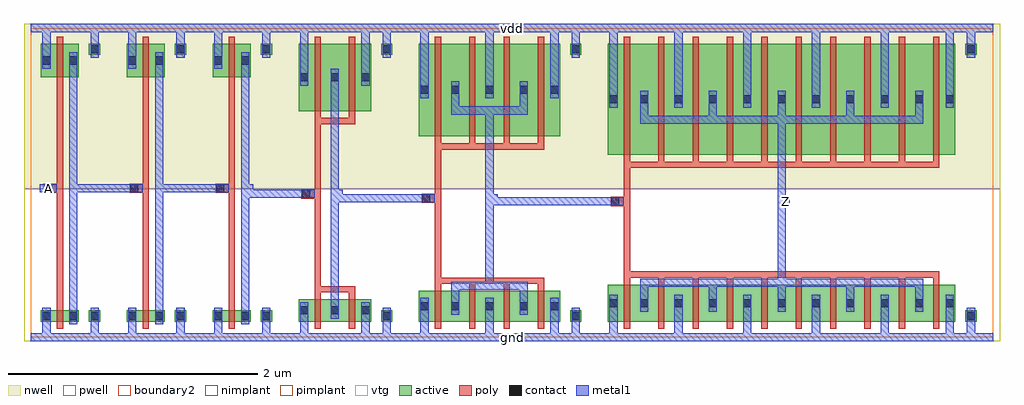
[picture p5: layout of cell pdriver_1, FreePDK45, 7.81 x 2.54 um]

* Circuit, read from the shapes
.subckt pdriver_1 A Z gnd vdd
M1 pinv_1_1/A A gnd gnd nfet w=0.09u l=0.05u
M2 pinv_1_2/A pinv_1_1/A gnd gnd nfet w=0.09u l=0.05u
M3 pinv_8_3/A pinv_1_2/A gnd gnd nfet w=0.09u l=0.05u
M4 pinv_9_4/A pinv_8_3/A gnd gnd nfet w=0.18u l=0.05u m=2
M5 pinv_10_5/A pinv_9_4/A gnd gnd nfet w=0.2475u l=0.05u m=4
M6 Z pinv_10_5/A gnd gnd nfet w=0.2975u l=0.05u m=10
M7 pinv_1_1/A A vdd vdd pfet w=0.27u l=0.05u
M8 pinv_1_2/A pinv_1_1/A vdd vdd pfet w=0.27u l=0.05u
M9 pinv_8_3/A pinv_1_2/A vdd vdd pfet w=0.27u l=0.05u
M10 pinv_9_4/A pinv_8_3/A vdd vdd pfet w=0.54u l=0.05u m=2
M11 pinv_10_5/A pinv_9_4/A vdd vdd pfet w=0.7425u l=0.05u m=4
M12 Z pinv_10_5/A vdd vdd pfet w=0.89u l=0.05u m=10
.ends

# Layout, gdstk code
import gdstk
lib = gdstk.Library(unit=1e-6, precision=5e-10)
def R(c, l, rs):  # rectangles x0, y0, x1, y1
    for r in rs: c.add(gdstk.rectangle(r[:2], r[2:], *l))
def A(c, l, x, y, w, h, nx, ny, dx, dy):  # array of equal rectangles
    R(c, l, [(x+i*dx, y+j*dy, x+i*dx+w, y+j*dy+h) for i in range(nx) for j in range(ny)])
active = (1, 0)
pwell = (2, 0)
nwell = (3, 0)
nimplant = (4, 0)
pimplant = (5, 0)
vtg = (6, 0)
poly = (9, 0)
contact = (10, 0)
metal1 = (11, 0)
boundary2 = (239, 0)

contact_10 = lib.new_cell('contact_10')
R(contact_10, active, [(0,0.0225,0.09,0.1125)])
R(contact_10, nwell, [(-0.055,-0.0325,0.145,0.1675)])
R(contact_10, pimplant, [(0,0.0225,0.09,0.1125)])
R(contact_10, contact, [(0.0125,0.035,0.0775,0.1)])
R(contact_10, metal1, [(0.0125,0,0.0775,0.135)])
R(contact_10, boundary2, [(-0.055,-0.0325,0.145,0.1675)])

pmos_m1_w0_270_sm1_dm1_d = lib.new_cell('pmos_m1_w0_270_sm1_dm1_da_p')
R(pmos_m1_w0_270_sm1_dm1_d, active, [(0,0,0.305,0.27)])
R(pmos_m1_w0_270_sm1_dm1_d, nwell, [(-0.08,-0.08,0.385,0.35)])
R(pmos_m1_w0_270_sm1_dm1_d, pimplant, [(0,0,0.305,0.27)])
R(pmos_m1_w0_270_sm1_dm1_d, vtg, [(-0.08,-0.08,0.385,0.35)])
R(pmos_m1_w0_270_sm1_dm1_d, poly, [(0.1275,-0.055,0.1775,0.325), (0.1275,-0.055,0.1775,0.325)])
R(pmos_m1_w0_270_sm1_dm1_d, metal1, [(0.0125,0.0675,0.0775,0.2025), (0.2275,0.0675,0.2925,0.2025)])
R(pmos_m1_w0_270_sm1_dm1_d, boundary2, [(-0.08,-0.08,0.385,0.35)])
pmos_m1_w0_270_sm1_dm1_d.add(gdstk.Reference(contact_10, (0,0.0675)))
pmos_m1_w0_270_sm1_dm1_d.add(gdstk.Reference(contact_10, (0.215,0.0675)))
pmos_m1_w0_270_sm1_dm1_d.add(gdstk.Label('S', (0.045,0.135), layer=11, texttype=0))
pmos_m1_w0_270_sm1_dm1_d.add(gdstk.Label('D', (0.26,0.135), layer=11, texttype=0))
pmos_m1_w0_270_sm1_dm1_d.add(gdstk.Label('G', (0.1525,0.135), layer=9, texttype=0))

contact_9 = lib.new_cell('contact_9')
R(contact_9, active, [(0,0.0225,0.09,0.1125)])
R(contact_9, pwell, [(-0.055,-0.0325,0.145,0.1675)])
R(contact_9, nimplant, [(0,0.0225,0.09,0.1125)])
R(contact_9, contact, [(0.0125,0.035,0.0775,0.1)])
R(contact_9, metal1, [(0.0125,0,0.0775,0.135)])
R(contact_9, boundary2, [(-0.055,-0.0325,0.145,0.1675)])

nmos_m1_w0_090_sm1_dm1_d = lib.new_cell('nmos_m1_w0_090_sm1_dm1_da_p')
R(nmos_m1_w0_090_sm1_dm1_d, active, [(0,0,0.305,0.09)])
R(nmos_m1_w0_090_sm1_dm1_d, pwell, [(-0.08,-0.08,0.385,0.17)])
R(nmos_m1_w0_090_sm1_dm1_d, nimplant, [(0,0,0.305,0.09)])
R(nmos_m1_w0_090_sm1_dm1_d, vtg, [(-0.08,-0.08,0.385,0.17)])
R(nmos_m1_w0_090_sm1_dm1_d, poly, [(0.1275,-0.055,0.1775,0.145), (0.1275,-0.055,0.1775,0.145)])
R(nmos_m1_w0_090_sm1_dm1_d, metal1, [(0.0125,-0.0225,0.0775,0.1125), (0.2275,-0.0225,0.2925,0.1125)])
R(nmos_m1_w0_090_sm1_dm1_d, boundary2, [(-0.08,-0.08,0.385,0.17)])
nmos_m1_w0_090_sm1_dm1_d.add(gdstk.Reference(contact_9, (0,-0.0225)))
nmos_m1_w0_090_sm1_dm1_d.add(gdstk.Reference(contact_9, (0.215,-0.0225)))
nmos_m1_w0_090_sm1_dm1_d.add(gdstk.Label('S', (0.045,0.045), layer=11, texttype=0))
nmos_m1_w0_090_sm1_dm1_d.add(gdstk.Label('D', (0.26,0.045), layer=11, texttype=0))
nmos_m1_w0_090_sm1_dm1_d.add(gdstk.Label('G', (0.1525,0.045), layer=9, texttype=0))

contact_11 = lib.new_cell('contact_11')
R(contact_11, active, [(0,0.0225,0.09,0.1125)])
R(contact_11, nwell, [(-0.055,-0.0325,0.145,0.1675)])
R(contact_11, nimplant, [(0,0.0225,0.09,0.1125)])
R(contact_11, contact, [(0.0125,0.035,0.0775,0.1)])
R(contact_11, metal1, [(0.0125,0,0.0775,0.135)])
R(contact_11, boundary2, [(-0.055,-0.0325,0.145,0.1675)])

contact_12 = lib.new_cell('contact_12')
R(contact_12, active, [(0,0.0225,0.09,0.1125)])
R(contact_12, pwell, [(-0.055,-0.0325,0.145,0.1675)])
R(contact_12, pimplant, [(0,0.0225,0.09,0.1125)])
R(contact_12, contact, [(0.0125,0.035,0.0775,0.1)])
R(contact_12, metal1, [(0.0125,0,0.0775,0.135)])
R(contact_12, boundary2, [(-0.055,-0.0325,0.145,0.1675)])

contact_13 = lib.new_cell('contact_13')
R(contact_13, poly, [(0.03,0,0.105,0.075)])
R(contact_13, contact, [(0.035,0.005,0.1,0.07)])
R(contact_13, metal1, [(0,0.005,0.135,0.07)])
R(contact_13, boundary2, [(0,0,0.135,0.075)])

pinv_1 = lib.new_cell('pinv_1')
R(pinv_1, pwell, [(-0.055,-0.0325,0.7425,1.1875)])
R(pinv_1, nwell, [(-0.055,1.1875,0.7425,2.51)])
R(pinv_1, vtg, [(-0.055,-0.0325,0.7425,1.1875), (-0.055,1.1875,0.7425,2.51)])
R(pinv_1, poly, [(0.2075,0.27,0.2575,2.025), (0.14,1.155,0.2075,1.23)])
R(pinv_1, metal1, [(0,-0.0325,0.6875,0.0325), (0.0925,-0.0325,0.1575,0.1025), (0.4775,0,0.5425,0.17), (0.3075,0.1025,0.3725,2.2825), (0.0725,1.16,0.2075,1.225), (0.34,1.16,0.405,1.225), (0.0925,2.1475,0.1575,2.5075), (0.4775,2.305,0.5425,2.475), (0,2.4425,0.6875,2.5075)])
R(pinv_1, boundary2, [(0,0,0.6875,2.475), (0,0,0.6875,2.475)])
pinv_1.add(gdstk.Reference(pmos_m1_w0_270_sm1_dm1_d, (0.08,2.08)))
pinv_1.add(gdstk.Reference(nmos_m1_w0_090_sm1_dm1_d, (0.08,0.125)))
pinv_1.add(gdstk.Reference(contact_11, (0.465,2.2375)))
pinv_1.add(gdstk.Reference(contact_12, (0.465,0.1025)))
pinv_1.add(gdstk.Reference(contact_13, (0.0725,1.155)))
pinv_1.add(gdstk.Label('A', (0.14,1.1925), layer=11, texttype=0))
pinv_1.add(gdstk.Label('Z', (0.3725,1.1925), layer=11, texttype=0))
pinv_1.add(gdstk.Label('gnd', (0.344,0), layer=11, texttype=0))
pinv_1.add(gdstk.Label('vdd', (0.344,2.475), layer=11, texttype=0))

pmos_m2_w0_540_sm1_dm1_d = lib.new_cell('pmos_m2_w0_540_sm1_dm1_da_p')
R(pmos_m2_w0_540_sm1_dm1_d, active, [(0,0,0.58,0.54)])
R(pmos_m2_w0_540_sm1_dm1_d, nwell, [(-0.08,-0.08,0.66,0.62)])
R(pmos_m2_w0_540_sm1_dm1_d, pimplant, [(0,0,0.58,0.54)])
R(pmos_m2_w0_540_sm1_dm1_d, vtg, [(-0.08,-0.08,0.66,0.62)])
R(pmos_m2_w0_540_sm1_dm1_d, poly, [(0.1275,-0.105,0.4525,-0.055), (0.1275,-0.055,0.1775,0.595), (0.4025,-0.055,0.4525,0.595)])
A(pmos_m2_w0_540_sm1_dm1_d, metal1, 0.0125, 0.2025, 0.065, 0.135, 3, 1, 0.245, 0)
R(pmos_m2_w0_540_sm1_dm1_d, boundary2, [(-0.08,-0.105,0.66,0.62)])
pmos_m2_w0_540_sm1_dm1_d.add(gdstk.Reference(contact_10, (0,0.2025)))
pmos_m2_w0_540_sm1_dm1_d.add(gdstk.Reference(contact_10, (0.245,0.2025)))
pmos_m2_w0_540_sm1_dm1_d.add(gdstk.Reference(contact_10, (0.49,0.2025)))
pmos_m2_w0_540_sm1_dm1_d.add(gdstk.Label('S', (0.535,0.27), layer=11, texttype=0))
pmos_m2_w0_540_sm1_dm1_d.add(gdstk.Label('S', (0.045,0.27), layer=11, texttype=0))
pmos_m2_w0_540_sm1_dm1_d.add(gdstk.Label('D', (0.29,0.27), layer=11, texttype=0))
pmos_m2_w0_540_sm1_dm1_d.add(gdstk.Label('G', (0.29,-0.08), layer=9, texttype=0))

nmos_m2_w0_180_sm1_dm1_d = lib.new_cell('nmos_m2_w0_180_sm1_dm1_da_p')
R(nmos_m2_w0_180_sm1_dm1_d, active, [(0,0,0.58,0.18)])
R(nmos_m2_w0_180_sm1_dm1_d, pwell, [(-0.08,-0.08,0.66,0.26)])
R(nmos_m2_w0_180_sm1_dm1_d, nimplant, [(0,0,0.58,0.18)])
R(nmos_m2_w0_180_sm1_dm1_d, vtg, [(-0.08,-0.08,0.66,0.26)])
R(nmos_m2_w0_180_sm1_dm1_d, poly, [(0.1275,-0.055,0.1775,0.235), (0.4025,-0.055,0.4525,0.235), (0.1275,0.235,0.4525,0.285)])
A(nmos_m2_w0_180_sm1_dm1_d, metal1, 0.0125, 0.0225, 0.065, 0.135, 3, 1, 0.245, 0)
R(nmos_m2_w0_180_sm1_dm1_d, boundary2, [(-0.08,-0.08,0.66,0.285)])
nmos_m2_w0_180_sm1_dm1_d.add(gdstk.Reference(contact_9, (0,0.0225)))
nmos_m2_w0_180_sm1_dm1_d.add(gdstk.Reference(contact_9, (0.245,0.0225)))
nmos_m2_w0_180_sm1_dm1_d.add(gdstk.Reference(contact_9, (0.49,0.0225)))
nmos_m2_w0_180_sm1_dm1_d.add(gdstk.Label('S', (0.535,0.09), layer=11, texttype=0))
nmos_m2_w0_180_sm1_dm1_d.add(gdstk.Label('S', (0.045,0.09), layer=11, texttype=0))
nmos_m2_w0_180_sm1_dm1_d.add(gdstk.Label('D', (0.29,0.09), layer=11, texttype=0))
nmos_m2_w0_180_sm1_dm1_d.add(gdstk.Label('G', (0.29,0.26), layer=9, texttype=0))

pinv_8 = lib.new_cell('pinv_8')
R(pinv_8, pwell, [(-0.055,-0.0325,1.0175,1.1875)])
R(pinv_8, nwell, [(-0.055,1.1875,1.0175,2.51)])
R(pinv_8, vtg, [(-0.055,-0.0325,1.0175,1.1875), (-0.055,1.1875,1.0175,2.51)])
R(pinv_8, poly, [(0.2075,0.41,0.2575,1.705), (0.14,1.11,0.2075,1.185)])
R(pinv_8, metal1, [(0,-0.0325,0.9625,0.0325), (0.0925,-0.0325,0.1575,0.1475), (0.5825,-0.0325,0.6475,0.1475), (0.7525,0,0.8175,0.17), (0.3375,0.1475,0.4025,2.1475), (0.0725,1.115,0.2075,1.18), (0.37,1.115,0.435,1.18), (0.0925,2.0125,0.1575,2.5075), (0.5825,2.0125,0.6475,2.5075), (0.7525,2.305,0.8175,2.475), (0,2.4425,0.9625,2.5075)])
R(pinv_8, boundary2, [(0,0,0.9625,2.475), (0,0,0.9625,2.475)])
pinv_8.add(gdstk.Reference(pmos_m2_w0_540_sm1_dm1_d, (0.08,1.81)))
pinv_8.add(gdstk.Reference(nmos_m2_w0_180_sm1_dm1_d, (0.08,0.125)))
pinv_8.add(gdstk.Reference(contact_11, (0.74,2.2375)))
pinv_8.add(gdstk.Reference(contact_12, (0.74,0.1025)))
pinv_8.add(gdstk.Reference(contact_13, (0.0725,1.11)))
pinv_8.add(gdstk.Label('A', (0.14,1.1475), layer=11, texttype=0))
pinv_8.add(gdstk.Label('Z', (0.4025,1.1475), layer=11, texttype=0))
pinv_8.add(gdstk.Label('gnd', (0.481,0), layer=11, texttype=0))
pinv_8.add(gdstk.Label('vdd', (0.481,2.475), layer=11, texttype=0))

pmos_m4_w0_743_sm1_dm1_d = lib.new_cell('pmos_m4_w0_743_sm1_dm1_da_p')
R(pmos_m4_w0_743_sm1_dm1_d, active, [(0,0,1.13,0.7425)])
R(pmos_m4_w0_743_sm1_dm1_d, nwell, [(-0.08,-0.08,1.21,0.8225)])
R(pmos_m4_w0_743_sm1_dm1_d, pimplant, [(0,0,1.13,0.7425)])
R(pmos_m4_w0_743_sm1_dm1_d, vtg, [(-0.08,-0.08,1.21,0.8225)])
A(pmos_m4_w0_743_sm1_dm1_d, poly, 0.1275, -0.055, 0.05, 0.8525, 4, 1, 0.275, 0)
R(pmos_m4_w0_743_sm1_dm1_d, poly, [(0.1275,-0.105,1.0025,-0.055)])
A(pmos_m4_w0_743_sm1_dm1_d, metal1, 0.0125, 0.305, 0.065, 0.135, 3, 1, 0.52, 0)
R(pmos_m4_w0_743_sm1_dm1_d, metal1, [(0.2575,0.175,0.8725,0.24), (0.2575,0.205,0.3225,0.37), (0.8075,0.205,0.8725,0.37)])
R(pmos_m4_w0_743_sm1_dm1_d, boundary2, [(-0.08,-0.105,1.21,0.8225)])
pmos_m4_w0_743_sm1_dm1_d.add(gdstk.Reference(contact_10, (0,0.305)))
pmos_m4_w0_743_sm1_dm1_d.add(gdstk.Reference(contact_10, (0.245,0.305)))
pmos_m4_w0_743_sm1_dm1_d.add(gdstk.Reference(contact_10, (0.52,0.305)))
pmos_m4_w0_743_sm1_dm1_d.add(gdstk.Reference(contact_10, (0.795,0.305)))
pmos_m4_w0_743_sm1_dm1_d.add(gdstk.Reference(contact_10, (1.04,0.305)))
pmos_m4_w0_743_sm1_dm1_d.add(gdstk.Label('S', (0.565,0.3725), layer=11, texttype=0))
pmos_m4_w0_743_sm1_dm1_d.add(gdstk.Label('S', (0.045,0.3725), layer=11, texttype=0))
pmos_m4_w0_743_sm1_dm1_d.add(gdstk.Label('S', (1.085,0.3725), layer=11, texttype=0))
pmos_m4_w0_743_sm1_dm1_d.add(gdstk.Label('D', (0.565,0.2075), layer=11, texttype=0))
pmos_m4_w0_743_sm1_dm1_d.add(gdstk.Label('G', (0.565,-0.08), layer=9, texttype=0))

nmos_m4_w0_247_sm1_dm1_d = lib.new_cell('nmos_m4_w0_247_sm1_dm1_da_p')
R(nmos_m4_w0_247_sm1_dm1_d, active, [(0,0,1.13,0.2475)])
R(nmos_m4_w0_247_sm1_dm1_d, pwell, [(-0.08,-0.08,1.21,0.3275)])
R(nmos_m4_w0_247_sm1_dm1_d, nimplant, [(0,0,1.13,0.2475)])
R(nmos_m4_w0_247_sm1_dm1_d, vtg, [(-0.08,-0.08,1.21,0.3275)])
A(nmos_m4_w0_247_sm1_dm1_d, poly, 0.1275, -0.055, 0.05, 0.3575, 4, 1, 0.275, 0)
R(nmos_m4_w0_247_sm1_dm1_d, poly, [(0.1275,0.3025,1.0025,0.3525)])
A(nmos_m4_w0_247_sm1_dm1_d, metal1, 0.0125, 0.055, 0.065, 0.135, 3, 1, 0.52, 0)
R(nmos_m4_w0_247_sm1_dm1_d, metal1, [(0.2575,0.125,0.3225,0.29), (0.8075,0.125,0.8725,0.29), (0.2575,0.255,0.8725,0.32)])
R(nmos_m4_w0_247_sm1_dm1_d, boundary2, [(-0.08,-0.08,1.21,0.3525)])
nmos_m4_w0_247_sm1_dm1_d.add(gdstk.Reference(contact_9, (0,0.055)))
nmos_m4_w0_247_sm1_dm1_d.add(gdstk.Reference(contact_9, (0.245,0.055)))
nmos_m4_w0_247_sm1_dm1_d.add(gdstk.Reference(contact_9, (0.52,0.055)))
nmos_m4_w0_247_sm1_dm1_d.add(gdstk.Reference(contact_9, (0.795,0.055)))
nmos_m4_w0_247_sm1_dm1_d.add(gdstk.Reference(contact_9, (1.04,0.055)))
nmos_m4_w0_247_sm1_dm1_d.add(gdstk.Label('S', (0.565,0.1225), layer=11, texttype=0))
nmos_m4_w0_247_sm1_dm1_d.add(gdstk.Label('S', (1.085,0.1225), layer=11, texttype=0))
nmos_m4_w0_247_sm1_dm1_d.add(gdstk.Label('S', (0.045,0.1225), layer=11, texttype=0))
nmos_m4_w0_247_sm1_dm1_d.add(gdstk.Label('D', (0.565,0.2875), layer=11, texttype=0))
nmos_m4_w0_247_sm1_dm1_d.add(gdstk.Label('G', (0.565,0.3275), layer=9, texttype=0))

pinv_9 = lib.new_cell('pinv_9')
R(pinv_9, pwell, [(-0.055,-0.0325,1.5675,1.1875)])
R(pinv_9, nwell, [(-0.055,1.1875,1.5675,2.51)])
R(pinv_9, vtg, [(-0.055,-0.0325,1.5675,1.1875), (-0.055,1.1875,1.5675,2.51)])
R(pinv_9, poly, [(0.2075,0.4775,0.2575,1.5025), (0.14,1.075,0.2075,1.15)])
A(pinv_9, metal1, 0.0925, -0.0325, 0.065, 0.2125, 3, 1, 0.52, 0)
A(pinv_9, metal1, 0.0925, 1.9125, 0.065, 0.595, 3, 1, 0.52, 0)
R(pinv_9, metal1, [(0,-0.0325,1.5125,0.0325), (1.3025,0,1.3675,0.17), (0.6125,0.38,0.6775,1.8475), (0.0725,1.08,0.2075,1.145), (0.645,1.08,0.71,1.145), (1.3025,2.305,1.3675,2.475), (0,2.4425,1.5125,2.5075)])
R(pinv_9, boundary2, [(0,0,1.5125,2.475), (0,0,1.5125,2.475)])
pinv_9.add(gdstk.Reference(pmos_m4_w0_743_sm1_dm1_d, (0.08,1.6075)))
pinv_9.add(gdstk.Reference(nmos_m4_w0_247_sm1_dm1_d, (0.08,0.125)))
pinv_9.add(gdstk.Reference(contact_11, (1.29,2.2375)))
pinv_9.add(gdstk.Reference(contact_12, (1.29,0.1025)))
pinv_9.add(gdstk.Reference(contact_13, (0.0725,1.075)))
pinv_9.add(gdstk.Label('A', (0.14,1.1125), layer=11, texttype=0))
pinv_9.add(gdstk.Label('Z', (0.6775,1.1125), layer=11, texttype=0))
pinv_9.add(gdstk.Label('gnd', (0.756,0), layer=11, texttype=0))
pinv_9.add(gdstk.Label('vdd', (0.756,2.475), layer=11, texttype=0))

pmos_m10_w0_890_sm1_dm1_ = lib.new_cell('pmos_m10_w0_890_sm1_dm1_da_p')
R(pmos_m10_w0_890_sm1_dm1_, active, [(0,0,2.78,0.89)])
R(pmos_m10_w0_890_sm1_dm1_, nwell, [(-0.08,-0.08,2.86,0.97)])
R(pmos_m10_w0_890_sm1_dm1_, pimplant, [(0,0,2.78,0.89)])
R(pmos_m10_w0_890_sm1_dm1_, vtg, [(-0.08,-0.08,2.86,0.97)])
A(pmos_m10_w0_890_sm1_dm1_, poly, 0.1275, -0.055, 0.05, 1, 10, 1, 0.275, 0)
R(pmos_m10_w0_890_sm1_dm1_, poly, [(0.1275,-0.105,2.6525,-0.055)])
A(pmos_m10_w0_890_sm1_dm1_, metal1, 0.2575, 0.28, 0.065, 0.165, 5, 1, 0.55, 0)
A(pmos_m10_w0_890_sm1_dm1_, metal1, 0.5325, 0.3775, 0.065, 0.135, 4, 1, 0.55, 0)
R(pmos_m10_w0_890_sm1_dm1_, metal1, [(0.2575,0.2475,2.5225,0.3125), (0.0125,0.3775,0.0775,0.5125), (2.7025,0.3775,2.7675,0.5125)])
R(pmos_m10_w0_890_sm1_dm1_, boundary2, [(-0.08,-0.105,2.86,0.97)])
pmos_m10_w0_890_sm1_dm1_.add(gdstk.Reference(contact_10, (0,0.3775)))
pmos_m10_w0_890_sm1_dm1_.add(gdstk.Reference(contact_10, (0.245,0.3775)))
pmos_m10_w0_890_sm1_dm1_.add(gdstk.Reference(contact_10, (0.52,0.3775)))
pmos_m10_w0_890_sm1_dm1_.add(gdstk.Reference(contact_10, (0.795,0.3775)))
pmos_m10_w0_890_sm1_dm1_.add(gdstk.Reference(contact_10, (1.07,0.3775)))
pmos_m10_w0_890_sm1_dm1_.add(gdstk.Reference(contact_10, (1.345,0.3775)))
pmos_m10_w0_890_sm1_dm1_.add(gdstk.Reference(contact_10, (1.62,0.3775)))
pmos_m10_w0_890_sm1_dm1_.add(gdstk.Reference(contact_10, (1.895,0.3775)))
pmos_m10_w0_890_sm1_dm1_.add(gdstk.Reference(contact_10, (2.17,0.3775)))
pmos_m10_w0_890_sm1_dm1_.add(gdstk.Reference(contact_10, (2.445,0.3775)))
pmos_m10_w0_890_sm1_dm1_.add(gdstk.Reference(contact_10, (2.69,0.3775)))
pmos_m10_w0_890_sm1_dm1_.add(gdstk.Label('S', (2.735,0.445), layer=11, texttype=0))
pmos_m10_w0_890_sm1_dm1_.add(gdstk.Label('S', (1.115,0.445), layer=11, texttype=0))
pmos_m10_w0_890_sm1_dm1_.add(gdstk.Label('S', (0.045,0.445), layer=11, texttype=0))
pmos_m10_w0_890_sm1_dm1_.add(gdstk.Label('S', (1.665,0.445), layer=11, texttype=0))
pmos_m10_w0_890_sm1_dm1_.add(gdstk.Label('S', (0.565,0.445), layer=11, texttype=0))
pmos_m10_w0_890_sm1_dm1_.add(gdstk.Label('S', (2.215,0.445), layer=11, texttype=0))
pmos_m10_w0_890_sm1_dm1_.add(gdstk.Label('D', (1.39,0.28), layer=11, texttype=0))
pmos_m10_w0_890_sm1_dm1_.add(gdstk.Label('G', (1.39,-0.08), layer=9, texttype=0))

nmos_m10_w0_297_sm1_dm1_ = lib.new_cell('nmos_m10_w0_297_sm1_dm1_da_p')
R(nmos_m10_w0_297_sm1_dm1_, active, [(0,0,2.78,0.2975)])
R(nmos_m10_w0_297_sm1_dm1_, pwell, [(-0.08,-0.08,2.86,0.3775)])
R(nmos_m10_w0_297_sm1_dm1_, nimplant, [(0,0,2.78,0.2975)])
R(nmos_m10_w0_297_sm1_dm1_, vtg, [(-0.08,-0.08,2.86,0.3775)])
A(nmos_m10_w0_297_sm1_dm1_, poly, 0.1275, -0.055, 0.05, 0.4075, 10, 1, 0.275, 0)
R(nmos_m10_w0_297_sm1_dm1_, poly, [(0.1275,0.3525,2.6525,0.4025)])
A(nmos_m10_w0_297_sm1_dm1_, metal1, 0.5325, 0.08, 0.065, 0.135, 4, 1, 0.55, 0)
A(nmos_m10_w0_297_sm1_dm1_, metal1, 0.2575, 0.15, 0.065, 0.165, 5, 1, 0.55, 0)
R(nmos_m10_w0_297_sm1_dm1_, metal1, [(0.0125,0.08,0.0775,0.215), (2.7025,0.08,2.7675,0.215), (0.2575,0.28,2.5225,0.345)])
R(nmos_m10_w0_297_sm1_dm1_, boundary2, [(-0.08,-0.08,2.86,0.4025)])
nmos_m10_w0_297_sm1_dm1_.add(gdstk.Reference(contact_9, (0,0.08)))
nmos_m10_w0_297_sm1_dm1_.add(gdstk.Reference(contact_9, (0.245,0.08)))
nmos_m10_w0_297_sm1_dm1_.add(gdstk.Reference(contact_9, (0.52,0.08)))
nmos_m10_w0_297_sm1_dm1_.add(gdstk.Reference(contact_9, (0.795,0.08)))
nmos_m10_w0_297_sm1_dm1_.add(gdstk.Reference(contact_9, (1.07,0.08)))
nmos_m10_w0_297_sm1_dm1_.add(gdstk.Reference(contact_9, (1.345,0.08)))
nmos_m10_w0_297_sm1_dm1_.add(gdstk.Reference(contact_9, (1.62,0.08)))
nmos_m10_w0_297_sm1_dm1_.add(gdstk.Reference(contact_9, (1.895,0.08)))
nmos_m10_w0_297_sm1_dm1_.add(gdstk.Reference(contact_9, (2.17,0.08)))
nmos_m10_w0_297_sm1_dm1_.add(gdstk.Reference(contact_9, (2.445,0.08)))
nmos_m10_w0_297_sm1_dm1_.add(gdstk.Reference(contact_9, (2.69,0.08)))
nmos_m10_w0_297_sm1_dm1_.add(gdstk.Label('S', (1.665,0.1475), layer=11, texttype=0))
nmos_m10_w0_297_sm1_dm1_.add(gdstk.Label('S', (0.045,0.1475), layer=11, texttype=0))
nmos_m10_w0_297_sm1_dm1_.add(gdstk.Label('S', (0.565,0.1475), layer=11, texttype=0))
nmos_m10_w0_297_sm1_dm1_.add(gdstk.Label('S', (2.735,0.1475), layer=11, texttype=0))
nmos_m10_w0_297_sm1_dm1_.add(gdstk.Label('S', (2.215,0.1475), layer=11, texttype=0))
nmos_m10_w0_297_sm1_dm1_.add(gdstk.Label('S', (1.115,0.1475), layer=11, texttype=0))
nmos_m10_w0_297_sm1_dm1_.add(gdstk.Label('D', (1.39,0.3125), layer=11, texttype=0))
nmos_m10_w0_297_sm1_dm1_.add(gdstk.Label('G', (1.39,0.3775), layer=9, texttype=0))

pinv_10 = lib.new_cell('pinv_10')
R(pinv_10, pwell, [(-0.055,-0.0325,3.2175,1.1875)])
R(pinv_10, nwell, [(-0.055,1.1875,3.2175,2.51)])
R(pinv_10, vtg, [(-0.055,-0.0325,3.2175,1.1875), (-0.055,1.1875,3.2175,2.51)])
R(pinv_10, poly, [(0.2075,0.5275,0.2575,1.355), (0.14,1.05,0.2075,1.125)])
A(pinv_10, metal1, 0.6125, -0.0325, 0.065, 0.2375, 4, 1, 0.55, 0)
A(pinv_10, metal1, 0.6125, 1.8375, 0.065, 0.67, 4, 1, 0.55, 0)
R(pinv_10, metal1, [(0,-0.0325,3.1625,0.0325), (0.0925,-0.0325,0.1575,0.205), (2.7825,-0.0325,2.8475,0.205), (2.9525,0,3.0175,0.17), (1.4375,0.405,1.5025,1.7725), (0.0725,1.055,0.2075,1.12), (1.47,1.055,1.535,1.12), (0.0925,1.8375,0.1575,2.5075), (2.7825,1.8375,2.8475,2.5075), (2.9525,2.305,3.0175,2.475), (0,2.4425,3.1625,2.5075)])
R(pinv_10, boundary2, [(0,0,3.1625,2.475), (0,0,3.1625,2.475)])
pinv_10.add(gdstk.Reference(pmos_m10_w0_890_sm1_dm1_, (0.08,1.46)))
pinv_10.add(gdstk.Reference(nmos_m10_w0_297_sm1_dm1_, (0.08,0.125)))
pinv_10.add(gdstk.Reference(contact_11, (2.94,2.2375)))
pinv_10.add(gdstk.Reference(contact_12, (2.94,0.1025)))
pinv_10.add(gdstk.Reference(contact_13, (0.0725,1.05)))
pinv_10.add(gdstk.Label('A', (0.14,1.0875), layer=11, texttype=0))
pinv_10.add(gdstk.Label('Z', (1.5025,1.0875), layer=11, texttype=0))
pinv_10.add(gdstk.Label('gnd', (1.581,0), layer=11, texttype=0))
pinv_10.add(gdstk.Label('vdd', (1.581,2.475), layer=11, texttype=0))

pdriver_1 = lib.new_cell('pdriver_1')
R(pdriver_1, pwell, [(-0.055,-0.0325,7.755,1.1875)])
R(pdriver_1, nwell, [(-0.055,1.1875,7.755,2.51)])
R(pdriver_1, vtg, [(-0.055,-0.0325,7.755,1.1875), (-0.055,1.1875,7.755,2.51)])
R(pdriver_1, metal1, [(0,-0.0325,7.7,0.0325), (3.67,1.055,3.735,1.12), (3.7025,1.055,4.6775,1.12), (6.0075,1.055,6.0725,1.12), (2.4325,1.08,2.4975,1.145), (2.465,1.08,3.165,1.145), (3.67,1.0875,3.735,1.1125), (2.4325,1.1125,2.4975,1.1475), (1.715,1.115,1.78,1.18), (1.7475,1.115,2.2025,1.18), (1.715,1.1475,1.78,1.1925), (0.0725,1.16,0.2075,1.225), (0.3725,1.16,0.8275,1.225), (1.06,1.16,1.515,1.225), (0,2.4425,7.7,2.5075)])
R(pdriver_1, boundary2, [(0,0,7.7,2.475), (0,0,7.7,2.475)])
pdriver_1.add(gdstk.Reference(pinv_1, (0,0)))
pdriver_1.add(gdstk.Reference(pinv_1, (0.6875,0)))
pdriver_1.add(gdstk.Reference(pinv_1, (1.375,0)))
pdriver_1.add(gdstk.Reference(pinv_8, (2.0625,0)))
pdriver_1.add(gdstk.Reference(pinv_9, (3.025,0)))
pdriver_1.add(gdstk.Reference(pinv_10, (4.5375,0)))
pdriver_1.add(gdstk.Label('Z', (6.04,1.0875), layer=11, texttype=0))
pdriver_1.add(gdstk.Label('A', (0.14,1.1925), layer=11, texttype=0))
pdriver_1.add(gdstk.Label('gnd', (3.85,0), layer=11, texttype=0))
pdriver_1.add(gdstk.Label('vdd', (3.85,2.475), layer=11, texttype=0))

lib.write_gds('pdriver_1.gds')
